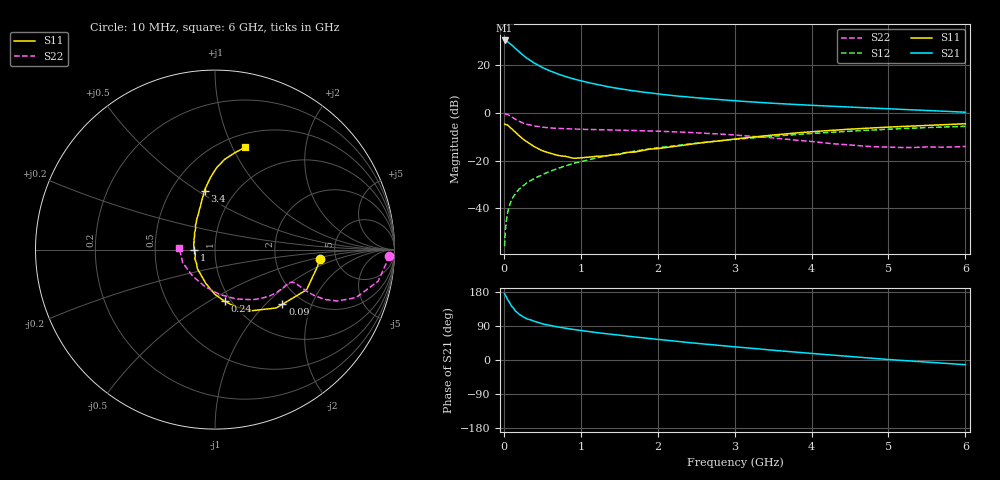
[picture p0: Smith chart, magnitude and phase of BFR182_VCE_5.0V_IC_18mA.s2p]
! Infineon Technologies  Discrete & RF Semiconductors
! BFR182
! VCE =  5.0 V,  IC =  18 mA
! Common Emitter S-Parameters:  Nov 2015
# GHz  S  MA  R  50
!  f  S11  S21  S12  S22
! GHz  MAG  ANG  MAG  ANG  MAG  ANG  MAG  ANG
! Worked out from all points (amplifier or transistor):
!   210 points, 10 MHz to 6 GHz, reference 50 ohm
!   highest |S21| = 30.4 dB at 10 MHz (marker M1)
!   |S21| within 3 dB of that: start of sweep to 138.5 MHz
!   unconditionally stable (mu >= 1): 616.7 MHz to 2.601 GHz
!   at 185 MHz: K = 0.66, MSG = 29.3 dB, |S12| = -32.4 dB
!   at 1.52 GHz: K = 1.04, MAG = 12.3 dB, |S12| = -17.0 dB
!   at 6 GHz: K = 0.89, MSG = 3.0 dB, |S12| = -5.6 dB
!   S11 on the Smith chart (normalised r, x): 10 MHz: 3.72, -0.56; 90 MHz: 1.59, -1.26; 240 MHz: 0.93, -0.59; 1 GHz: 0.79, -0.01; 3.4 GHz: 0.73, +0.53; 6 GHz: 0.64, +1.12
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0.01  0.5846 -4.9  33.27 175.1  0.0016 89.7  0.9684 -2.0
0.02  0.5791 -9.2  32.63 170.8  0.0034 85.9  0.9576 -4.5
0.05  0.5573 -23.7  31.27 159.1  0.0083 81.8  0.9264 -10.9
0.09  0.4834 -39.1  27.73 146.1  0.0136 75.8  0.8487 -17.0
0.1  0.4714 -43.6  27.1 142.4  0.015 75.0  0.831 -18.7
0.15  0.3965 -59.3  22.65 129.4  0.0203 70.9  0.7372 -22.9
0.2  0.332 -71.5  19.12 120.6  0.0254 70.8  0.6665 -24.5
0.24  0.2917 -79.5  16.81 115.3  0.0287 69.8  0.6242 -24.7
0.3  0.2481 -90.4  14.07 108.8  0.0342 70.7  0.5777 -24.7
0.4  0.1947 -105.3  11.05 101.7  0.0423 71.3  0.5319 -23.8
0.5  0.1612 -119.4  8.997 95.6  0.0506 72.5  0.5034 -23.0
0.7  0.1288 -142.9  6.618 87.2  0.0684 73.1  0.4739 -22.8
0.8  0.1232 -155.7  5.818 83.8  0.0775 72.6  0.4667 -22.9
1  0.1144 -178.4  4.728 77.8  0.095 71.8  0.455 -23.9
1.02  0.115 179.8  4.648 77.3  0.0969 71.7  0.4542 -24.1
1.4  0.1315 152.6  3.444 67.8  0.1306 69.8  0.4391 -28.0
2.02  0.1802 125.8  2.492 54.0  0.1878 64.4  0.4134 -36.2
3.1  0.2956 103.7  1.759 33.1  0.2878 53.7  0.3348 -56.2
3.4  0.3322 100.1  1.635 27.7  0.3157 50.5  0.3074 -63.8
4.1  0.4147 92.4  1.423 15.6  0.3795 42.3  0.242 -87.5
5.1  0.514 82.8  1.207 -0.0  0.464 30.1  0.1896 -135.8
6  0.5937 73.7  1.038 -12.4  0.5242 17.9  0.1987 177.2
